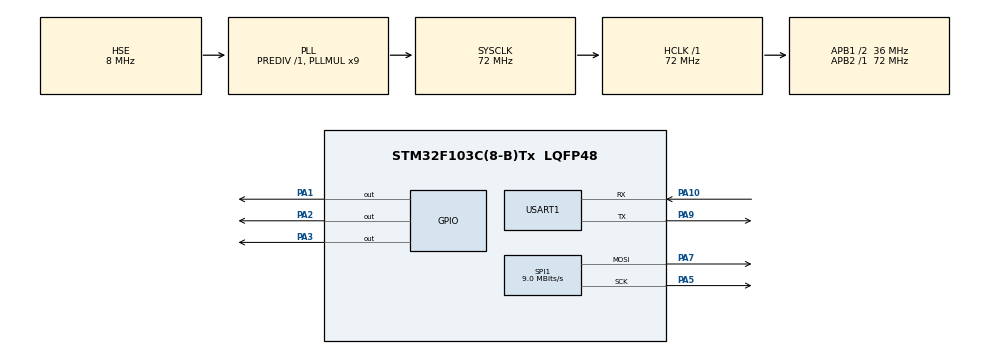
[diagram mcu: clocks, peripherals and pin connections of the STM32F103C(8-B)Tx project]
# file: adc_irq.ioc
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ADC1.Channel-0\#ChannelRegularConversion=ADC_CHANNEL_TEMPSENSOR
ADC1.ContinuousConvMode=ENABLE
ADC1.NbrOfConversionFlag=1
ADC1.Rank-0\#ChannelRegularConversion=1
ADC1.SamplingTime-0\#ChannelRegularConversion=ADC_SAMPLETIME_239CYCLES_5
ADC1.master=1
Dma.Request0=SPI1_TX
Dma.SPI1_TX.0.Direction=DMA_MEMORY_TO_PERIPH
Dma.SPI1_TX.0.Instance=DMA1_Channel3
Dma.SPI1_TX.0.MemDataAlignment=DMA_MDATAALIGN_BYTE
Dma.SPI1_TX.0.MemInc=DMA_MINC_ENABLE
Dma.SPI1_TX.0.Mode=DMA_NORMAL
Dma.SPI1_TX.0.PeriphDataAlignment=DMA_PDATAALIGN_BYTE
Dma.SPI1_TX.0.PeriphInc=DMA_PINC_DISABLE
Dma.SPI1_TX.0.Priority=DMA_PRIORITY_LOW
Mcu.Family=STM32F1
Mcu.Name=STM32F103C(8-B)Tx
Mcu.Package=LQFP48
NVIC.ADC1_2_IRQn=true\:0\:0\:false\:false\:true\:true\:true\:true
NVIC.DMA1_Channel3_IRQn=true\:0\:0\:false\:false\:true\:false\:true\:true
NVIC.PriorityGroup=NVIC_PRIORITYGROUP_4
NVIC.TIM1_UP_IRQn=true\:0\:0\:false\:false\:true\:true\:true\:true
NVIC.USART1_IRQn=true\:0\:0\:false\:false\:true\:true\:true\:true
PA1.Signal=GPIO_Output
PA10.Mode=Asynchronous
PA10.Signal=USART1_RX
PA13.Mode=Serial_Wire
PA13.Signal=SYS_JTMS-SWDIO
PA14.Mode=Serial_Wire
PA14.Signal=SYS_JTCK-SWCLK
PA2.Signal=GPIO_Output
PA3.Signal=GPIO_Output
PA5.Mode=TX_Only_Simplex_Unidirect_Master
PA5.Signal=SPI1_SCK
PA7.Mode=TX_Only_Simplex_Unidirect_Master
PA7.Signal=SPI1_MOSI
PA9.Mode=Asynchronous
PA9.Signal=USART1_TX
PD0-OSC_IN.Mode=HSE-External-Oscillator
PD0-OSC_IN.Signal=RCC_OSC_IN
PD1-OSC_OUT.Mode=HSE-External-Oscillator
PD1-OSC_OUT.Signal=RCC_OSC_OUT
ProjectManager.HeapSize=0x3000
ProjectManager.StackSize=0x1000
ProjectManager.TargetToolchain=STM32CubeIDE
RCC.ADCPresc=RCC_ADCPCLK2_DIV6
RCC.AHBFreq_Value=72000000
RCC.APB1CLKDivider=RCC_HCLK_DIV2
RCC.APB1Freq_Value=36000000
RCC.APB1TimFreq_Value=72000000
RCC.APB2Freq_Value=72000000
RCC.APB2TimFreq_Value=72000000
RCC.HCLKFreq_Value=72000000
RCC.PLLMUL=RCC_PLL_MUL9
RCC.PLLSourceVirtual=RCC_PLLSOURCE_HSE
RCC.SYSCLKFreq_VALUE=72000000
RCC.SYSCLKSource=RCC_SYSCLKSOURCE_PLLCLK
RCC.USBFreq_Value=72000000
SPI1.BaudRatePrescaler=SPI_BAUDRATEPRESCALER_8
SPI1.CLKPhase=SPI_PHASE_2EDGE
SPI1.CLKPolarity=SPI_POLARITY_HIGH
SPI1.CalculateBaudRate=9.0 MBits/s
SPI1.Direction=SPI_DIRECTION_2LINES
SPI1.Mode=SPI_MODE_MASTER
SPI1.VirtualType=VM_MASTER
TIM1.Channel-Output\ Compare1\ No\ Output=TIM_CHANNEL_1
TIM1.Period=50000
TIM1.Prescaler=1439
USART1.VirtualMode=VM_ASYNC
VP_ADC1_TempSens_Input.Mode=IN-TempSens
VP_TIM1_VS_no_output1.Mode=Output Compare1 No Output
board=custom

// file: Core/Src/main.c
/* USER CODE BEGIN Header */
/**
  ******************************************************************************
  * @file           : main.c
  * @brief          : Main program body
  ******************************************************************************
  * @attention
  *
  * Copyright (c) 2025 STMicroelectronics.
  * All rights reserved.
  *
  * This software is licensed under terms that can be found in the LICENSE file
  * in the root directory of this software component.
  * If no LICENSE file comes with this software, it is provided AS-IS.
  *
  ******************************************************************************
  */
/* USER CODE END Header */
#include "main.h"

/* USER CODE BEGIN Includes */
#include <stdio.h>
#include <string.h>
#include <stdbool.h>
#include <stdlib.h>

#include "st7789.h"
#include "fonts.h"

/* USER CODE END Includes */

ADC_HandleTypeDef hadc1;

SPI_HandleTypeDef hspi1;
DMA_HandleTypeDef hdma_spi1_tx;

TIM_HandleTypeDef htim1;

UART_HandleTypeDef huart1;

void SystemClock_Config(void);
static void MX_GPIO_Init(void);
static void MX_DMA_Init(void);
static void MX_ADC1_Init(void);
static void MX_USART1_UART_Init(void);
static void MX_SPI1_Init(void);
static void MX_TIM1_Init(void);

/* USER CODE BEGIN 0 */

void HAL_ADC_ConvCpltCallback(ADC_HandleTypeDef* hadc)
{
	char msg_uart[128];
	char msg_display[128];
	uint16_t rawValue;
	float temp;
	float mV;

	rawValue = HAL_ADC_GetValue(&hadc1);
	mV = ((float)rawValue) / 4095 * 3300;
	//Temperature (in °C) = {(V 25 - V SENSE ) / Avg_Slope} + 25.
	//Avg_Slope(1) Average slope 4.0 4.3 4.6 mV/°C
	//V25(1) Voltage at 25 °C 1.34 1.43 1.52 V
	//https://www.st.com/resource/en/datasheet/stm32f103c8.pdf

	temp = ((1460 - mV) / 4.3) + 25;

	sprintf(msg_uart, "rawValue: %hu\r\n", rawValue);
	sprintf(msg_display, "%d", rawValue);
	HAL_UART_Transmit(&huart1, (uint8_t*) msg_uart, strlen(msg_uart), HAL_MAX_DELAY);
	ST7789_WriteString(20, 10, msg_display, Font_16x26, GBLUE, BLACK);
	sprintf(msg_uart, "mV: %f\r\n", mV);
	sprintf(msg_display, "U: %.4f V", mV/1000.0);
	HAL_UART_Transmit(&huart1, (uint8_t*) msg_uart, strlen(msg_uart), HAL_MAX_DELAY);
	ST7789_WriteString(20, 40, msg_display, Font_16x26, RED, BLACK);
	sprintf(msg_uart, "Temperature: %.2f\r\n", temp);
	sprintf(msg_display, "t: %.2f C", temp);
	HAL_UART_Transmit(&huart1, (uint8_t*) msg_uart, strlen(msg_uart), HAL_MAX_DELAY);
	ST7789_WriteString(20, 60, msg_display, Font_16x26, YELLOW, BLACK);

}

void run_adc()
{
	static uint16_t count = 0;
	count++;
	if ((count % 5) == 0){
		char* text = "run_adc\r\n";
		HAL_UART_Transmit(&huart1, (uint8_t*) text, strlen(text), HAL_MAX_DELAY);
		HAL_ADC_Start_IT(&hadc1);
	}

}

/* USER CODE END 0 */

int main(void)
{

  /* MCU Configuration--------------------------------------------------------*/

  /* Reset of all peripherals, Initializes the Flash interface and the Systick. */
  HAL_Init();

  /* Configure the system clock */
  SystemClock_Config();

  /* Initialize all configured peripherals */
  MX_GPIO_Init();
  MX_DMA_Init();
  MX_ADC1_Init();
  if (HAL_ADCEx_Calibration_Start(&hadc1) != HAL_OK){
      Error_Handler();
  }
  MX_USART1_UART_Init();
  MX_SPI1_Init();
  MX_TIM1_Init();
  /* USER CODE BEGIN 2 */
  ST7789_Init();

  HAL_GPIO_WritePin(GPIOA, GPIO_PIN_3, GPIO_PIN_SET);
  /* USER CODE END 2 */

  /* Infinite loop */
  /* USER CODE BEGIN WHILE */

  HAL_NVIC_SetPriority(ADC1_2_IRQn, 0, 0);
  HAL_NVIC_EnableIRQ(ADC1_2_IRQn);
  HAL_ADC_Start_IT(&hadc1);
  HAL_TIM_Base_Start_IT(&htim1);
  ST7789_Fill_Color(BLACK);

  while (1)
  {

    /* USER CODE END WHILE */

  }
}

void SystemClock_Config(void)
{
  RCC_OscInitTypeDef RCC_OscInitStruct = {0};
  RCC_ClkInitTypeDef RCC_ClkInitStruct = {0};
  RCC_PeriphCLKInitTypeDef PeriphClkInit = {0};

  /** Initializes the RCC Oscillators according to the specified parameters
  * in the RCC_OscInitTypeDef structure.
  */
  RCC_OscInitStruct.OscillatorType = RCC_OSCILLATORTYPE_HSE;
  RCC_OscInitStruct.HSEState = RCC_HSE_ON;
  RCC_OscInitStruct.HSEPredivValue = RCC_HSE_PREDIV_DIV1;
  RCC_OscInitStruct.HSIState = RCC_HSI_ON;
  RCC_OscInitStruct.PLL.PLLState = RCC_PLL_ON;
  RCC_OscInitStruct.PLL.PLLSource = RCC_PLLSOURCE_HSE;
  RCC_OscInitStruct.PLL.PLLMUL = RCC_PLL_MUL9;
  if (HAL_RCC_OscConfig(&RCC_OscInitStruct) != HAL_OK)
  {
    Error_Handler();
  }

  /** Initializes the CPU, AHB and APB buses clocks
  */
  RCC_ClkInitStruct.ClockType = RCC_CLOCKTYPE_HCLK|RCC_CLOCKTYPE_SYSCLK
                              |RCC_CLOCKTYPE_PCLK1|RCC_CLOCKTYPE_PCLK2;
  RCC_ClkInitStruct.SYSCLKSource = RCC_SYSCLKSOURCE_PLLCLK;
  RCC_ClkInitStruct.AHBCLKDivider = RCC_SYSCLK_DIV1;
  RCC_ClkInitStruct.APB1CLKDivider = RCC_HCLK_DIV2;
  RCC_ClkInitStruct.APB2CLKDivider = RCC_HCLK_DIV1;

  if (HAL_RCC_ClockConfig(&RCC_ClkInitStruct, FLASH_LATENCY_2) != HAL_OK)
  {
    Error_Handler();
  }
  PeriphClkInit.PeriphClockSelection = RCC_PERIPHCLK_ADC;
  PeriphClkInit.AdcClockSelection = RCC_ADCPCLK2_DIV6;
  if (HAL_RCCEx_PeriphCLKConfig(&PeriphClkInit) != HAL_OK)
  {
    Error_Handler();
  }
}

static void MX_ADC1_Init(void)
{

  ADC_ChannelConfTypeDef sConfig = {0};

  /** Common config
  */
  hadc1.Instance = ADC1;
  hadc1.Init.ScanConvMode = ADC_SCAN_DISABLE;
  hadc1.Init.ContinuousConvMode = DISABLE;
  hadc1.Init.DiscontinuousConvMode = DISABLE;
  hadc1.Init.ExternalTrigConv = ADC_SOFTWARE_START;
  hadc1.Init.DataAlign = ADC_DATAALIGN_RIGHT;
  hadc1.Init.NbrOfConversion = 1;
  if (HAL_ADC_Init(&hadc1) != HAL_OK)
  {
    Error_Handler();
  }

  /** Configure Regular Channel
  */
  sConfig.Channel = ADC_CHANNEL_TEMPSENSOR;
  sConfig.Rank = ADC_REGULAR_RANK_1;
  sConfig.SamplingTime = ADC_SAMPLETIME_239CYCLES_5;
  if (HAL_ADC_ConfigChannel(&hadc1, &sConfig) != HAL_OK)
  {
    Error_Handler();
  }

}

static void MX_SPI1_Init(void)
{

  /* SPI1 parameter configuration*/
  hspi1.Instance = SPI1;
  hspi1.Init.Mode = SPI_MODE_MASTER;
  hspi1.Init.Direction = SPI_DIRECTION_2LINES;
  hspi1.Init.DataSize = SPI_DATASIZE_8BIT;
  hspi1.Init.CLKPolarity = SPI_POLARITY_HIGH;
  hspi1.Init.CLKPhase = SPI_PHASE_2EDGE;
  hspi1.Init.NSS = SPI_NSS_SOFT;
  hspi1.Init.BaudRatePrescaler = SPI_BAUDRATEPRESCALER_8;
  hspi1.Init.FirstBit = SPI_FIRSTBIT_MSB;
  hspi1.Init.TIMode = SPI_TIMODE_DISABLE;
  hspi1.Init.CRCCalculation = SPI_CRCCALCULATION_DISABLE;
  hspi1.Init.CRCPolynomial = 10;
  if (HAL_SPI_Init(&hspi1) != HAL_OK)
  {
    Error_Handler();
  }

}

static void MX_TIM1_Init(void)
{

  TIM_MasterConfigTypeDef sMasterConfig = {0};
  TIM_OC_InitTypeDef sConfigOC = {0};
  TIM_BreakDeadTimeConfigTypeDef sBreakDeadTimeConfig = {0};

  htim1.Instance = TIM1;
  htim1.Init.Prescaler = 1439;
  htim1.Init.CounterMode = TIM_COUNTERMODE_UP;
  htim1.Init.Period = 50000;
  htim1.Init.ClockDivision = TIM_CLOCKDIVISION_DIV1;
  htim1.Init.RepetitionCounter = 0;
  htim1.Init.AutoReloadPreload = TIM_AUTORELOAD_PRELOAD_DISABLE;
  if (HAL_TIM_OC_Init(&htim1) != HAL_OK)
  {
    Error_Handler();
  }
  sMasterConfig.MasterOutputTrigger = TIM_TRGO_RESET;
  sMasterConfig.MasterSlaveMode = TIM_MASTERSLAVEMODE_DISABLE;
  if (HAL_TIMEx_MasterConfigSynchronization(&htim1, &sMasterConfig) != HAL_OK)
  {
    Error_Handler();
  }
  sConfigOC.OCMode = TIM_OCMODE_TIMING;
  sConfigOC.Pulse = 0;
  sConfigOC.OCPolarity = TIM_OCPOLARITY_HIGH;
  sConfigOC.OCNPolarity = TIM_OCNPOLARITY_HIGH;
  sConfigOC.OCFastMode = TIM_OCFAST_DISABLE;
  sConfigOC.OCIdleState = TIM_OCIDLESTATE_RESET;
  sConfigOC.OCNIdleState = TIM_OCNIDLESTATE_RESET;
  if (HAL_TIM_OC_ConfigChannel(&htim1, &sConfigOC, TIM_CHANNEL_1) != HAL_OK)
  {
    Error_Handler();
  }
  sBreakDeadTimeConfig.OffStateRunMode = TIM_OSSR_DISABLE;
  sBreakDeadTimeConfig.OffStateIDLEMode = TIM_OSSI_DISABLE;
  sBreakDeadTimeConfig.LockLevel = TIM_LOCKLEVEL_OFF;
  sBreakDeadTimeConfig.DeadTime = 0;
  sBreakDeadTimeConfig.BreakState = TIM_BREAK_DISABLE;
  sBreakDeadTimeConfig.BreakPolarity = TIM_BREAKPOLARITY_HIGH;
  sBreakDeadTimeConfig.AutomaticOutput = TIM_AUTOMATICOUTPUT_DISABLE;
  if (HAL_TIMEx_ConfigBreakDeadTime(&htim1, &sBreakDeadTimeConfig) != HAL_OK)
  {
    Error_Handler();
  }

}

static void MX_USART1_UART_Init(void)
{

  huart1.Instance = USART1;
  huart1.Init.BaudRate = 115200;
  huart1.Init.WordLength = UART_WORDLENGTH_8B;
  huart1.Init.StopBits = UART_STOPBITS_1;
  huart1.Init.Parity = UART_PARITY_NONE;
  huart1.Init.Mode = UART_MODE_TX_RX;
  huart1.Init.HwFlowCtl = UART_HWCONTROL_NONE;
  huart1.Init.OverSampling = UART_OVERSAMPLING_16;
  if (HAL_UART_Init(&huart1) != HAL_OK)
  {
    Error_Handler();
  }

}

static void MX_DMA_Init(void)
{

  /* DMA controller clock enable */
  __HAL_RCC_DMA1_CLK_ENABLE();

  /* DMA interrupt init */
  /* DMA1_Channel3_IRQn interrupt configuration */
  HAL_NVIC_SetPriority(DMA1_Channel3_IRQn, 0, 0);
  HAL_NVIC_EnableIRQ(DMA1_Channel3_IRQn);

}

static void MX_GPIO_Init(void)
{
  GPIO_InitTypeDef GPIO_InitStruct = {0};

  /* GPIO Ports Clock Enable */
  __HAL_RCC_GPIOD_CLK_ENABLE();
  __HAL_RCC_GPIOA_CLK_ENABLE();

  /*Configure GPIO pin Output Level */
  HAL_GPIO_WritePin(GPIOA, GPIO_PIN_1|GPIO_PIN_2|GPIO_PIN_3, GPIO_PIN_RESET);

  /*Configure GPIO pins : PA1 PA2 PA3 */
  GPIO_InitStruct.Pin = GPIO_PIN_1|GPIO_PIN_2|GPIO_PIN_3;
  GPIO_InitStruct.Mode = GPIO_MODE_OUTPUT_PP;
  GPIO_InitStruct.Pull = GPIO_NOPULL;
  GPIO_InitStruct.Speed = GPIO_SPEED_FREQ_LOW;
  HAL_GPIO_Init(GPIOA, &GPIO_InitStruct);

}

void Error_Handler(void)
{
  __disable_irq();
  while (1)
  {
  }
}
